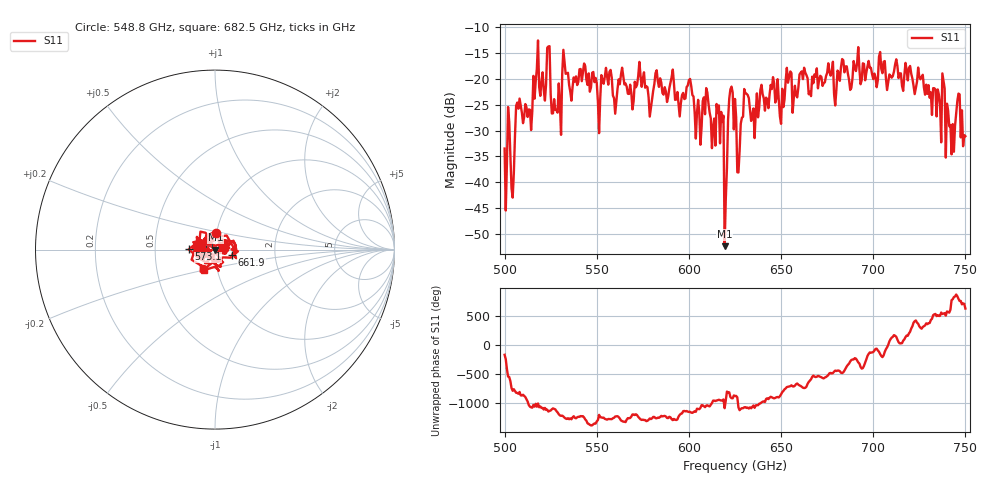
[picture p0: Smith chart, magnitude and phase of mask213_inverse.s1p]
!Created with skrf (http://scikit-rf.org).
# GHz S MA R 50.0
!freq magS11 angS11
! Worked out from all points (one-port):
!   401 points, 500 GHz to 750 GHz, reference 50 ohm
!   lowest |S11| = -52.4 dB at 619.4 GHz (marker M1), VSWR 1.00, Z = 50.2 - j0.0381 ohm
!   |S11| at or under -10 dB: start of sweep to end of sweep
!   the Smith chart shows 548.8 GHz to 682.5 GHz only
!   S11 on the Smith chart (normalised r, x): 548.8 GHz: 0.99, +0.19; 573.1 GHz: 0.74, +0.00; 661.9 GHz: 1.21, -0.07; 682.5 GHz: 0.86, -0.20
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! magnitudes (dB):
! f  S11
! 500 GHz  -33.5
! 504.4 GHz  -43.0
! 507.5 GHz  -25.8
! 513.8 GHz  -26.0
! 516.9 GHz  -20.5
! 523.8 GHz  -13.7
! 526.9 GHz  -23.9
! 531.2 GHz  -19.1
! 548.8 GHz  -20.6
! 562.5 GHz  -21.0
! 573.1 GHz  -16.7
! 593.8 GHz  -22.5
! 616.2 GHz  -25.1
! 619.4 GHz  -52.4
! 620.6 GHz  -37.3
! 622.5 GHz  -22.0
! 625 GHz  -23.9
! 627.5 GHz  -33.9
! 631.2 GHz  -22.9
! 635 GHz  -25.7
! 656.2 GHz  -26.5
! 661.9 GHz  -20.0
! 682.5 GHz  -17.7
! 687.5 GHz  -22.1
! 718.8 GHz  -20.3
! 742.5 GHz  -34.6
! 746.9 GHz  -23.0
! 750 GHz  -31.1
